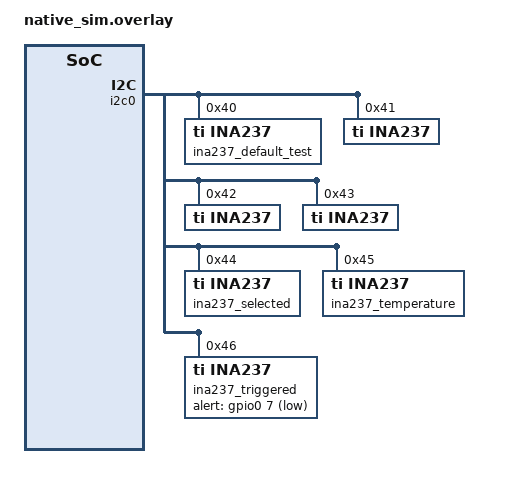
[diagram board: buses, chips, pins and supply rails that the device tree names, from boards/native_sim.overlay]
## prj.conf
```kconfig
# Copyright (c) 2023 North River Systems Ltd
# SPDX-License-Identifier: Apache-2.0

CONFIG_ZTEST=y
CONFIG_SENSOR=y
CONFIG_EMUL=y

CONFIG_I2C_LOG_LEVEL_DBG=y

CONFIG_CBPRINTF_FP_SUPPORT=y
CONFIG_GPIO=y
CONFIG_GPIO_EMUL=y
```

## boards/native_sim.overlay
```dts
/* Copyright (c) 2023 North River Systems Ltd
 * SPDX-License-Identifier: Apache-2.0
 */

#include <zephyr/dt-bindings/sensor/ina237.h>

&i2c0 {
	status = "okay";

	/* standard precision mode */
	ina237_default_test: ina237@40 {
		compatible = "ti,ina237";
		reg = <0x40>;
		rshunt-micro-ohms = <400>;
		current-lsb-microamps = <123>;
		status = "okay";
	};

	/* high precision mode */
	ina237@41 {
		compatible = "ti,ina237";
		reg = <0x41>;
		high-precision;
		rshunt-micro-ohms = <400>;
		current-lsb-microamps = <123>;
		status = "okay";
	};

	/* high precision mode, maximum current lsb */
	ina237@42 {
		compatible = "ti,ina237";
		reg = <0x42>;
		high-precision;
		rshunt-micro-ohms = <0x00ff>;
		current-lsb-microamps = <0xffff>;
		status = "okay";
	};

	/* high precision mode, maximum rshunt */
	ina237@43 {
		compatible = "ti,ina237";
		reg = <0x43>;
		high-precision;
		rshunt-micro-ohms = <0xffff>;
		current-lsb-microamps = <0x00ff>;
		status = "okay";
	};
};

&i2c0 {
	ina237_selected: ina237@44 {
		compatible = "ti,ina237";
		reg = <0x44>;
		rshunt-micro-ohms = <400>;
		current-lsb-microamps = <123>;
		fetch-channels = "bus-voltage", "shunt-voltage";
	};
	ina237_temperature: ina237@45 {
		compatible = "ti,ina237";
		reg = <0x45>;
		rshunt-micro-ohms = <400>;
		current-lsb-microamps = <123>;
		fetch-channels = "die-temperature";
	};
	ina237_triggered: ina237@46 {
		compatible = "ti,ina237";
		reg = <0x46>;
		rshunt-micro-ohms = <400>;
		current-lsb-microamps = <123>;
		fetch-channels = "bus-voltage", "shunt-voltage";
		adc-mode = "Bus and Shunt Voltage single shot";
		alert-gpios = <&gpio0 7 GPIO_ACTIVE_LOW>;
		alert-config = <0xc000>;
	};
};
```

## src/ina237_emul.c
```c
/*
 * Copyright (c) 2023 North River Systems Ltd
 *
 * SPDX-License-Identifier: Apache-2.0
 *
 * Emulator for the TI INA237 I2C power monitor
 */
#define DT_DRV_COMPAT ti_ina237

#include <zephyr/device.h>
#include <zephyr/drivers/emul.h>
#include <zephyr/drivers/i2c_emul.h>
#include <zephyr/drivers/i2c.h>
#include <zephyr/drivers/gpio/gpio_emul.h>
#include <zephyr/logging/log.h>
#include <zephyr/sys/byteorder.h>
#include <ina237.h>
#include <ina237_emul.h>

LOG_MODULE_REGISTER(INA237_EMUL, CONFIG_SENSOR_LOG_LEVEL);

#define INA237_EMUL_CONVERSION_READY BIT(1)

/* Register ID, size, and value table */
struct ina237_reg {
	uint8_t id;
	uint8_t bytes;
	uint32_t value;
};

/* Emulator configuration passed into driver instance */
struct ina237_emul_cfg {
	uint16_t addr;
	struct gpio_dt_spec alert;
};

struct ina237_emul_data {
	struct ina237_reg ina237_regs[INA237_REGISTER_COUNT];
	unsigned int reads[INA237_REGISTER_COUNT];
	int fail_reg;
	bool retained_alert;
};

static struct ina237_reg *get_register(struct ina237_emul_data *data, int reg)
{
	for (int i = 0; i < INA237_REGISTER_COUNT; i++) {
		if (data->ina237_regs[i].id == reg) {
			return &data->ina237_regs[i];
		}
	}
	return NULL;
}

int ina237_mock_set_register(void *data_ptr, int reg, uint32_t value)
{
	struct ina237_reg *reg_ptr = get_register(data_ptr, reg);

	if (reg_ptr == NULL) {
		return -EINVAL;
	}

	reg_ptr->value = value;
	return 0;
}

int ina237_mock_get_register(void *data_ptr, int reg, uint32_t *value_ptr)
{
	struct ina237_reg *reg_ptr = get_register(data_ptr, reg);

	if (reg_ptr == NULL || value_ptr == NULL) {
		return -EINVAL;
	}

	*value_ptr = reg_ptr->value;
	return 0;
}

/** @brief Reset transaction observations without changing emulated register values. */
void ina237_mock_reset_reads(void *data_ptr)
{
	struct ina237_emul_data *data = data_ptr;

	memset(data->reads, 0, sizeof(data->reads));
	data->fail_reg = -1;
}

/** @brief Return attempted reads of a register, including injected failures. */
int ina237_mock_read_count(void *data_ptr, int reg)
{
	struct ina237_emul_data *data = data_ptr;
	struct ina237_reg *entry = get_register(data, reg);

	return entry == NULL ? -EINVAL : data->reads[entry - data->ina237_regs];
}

/** @brief Fail reads of one register; a negative address disables the fault. */
void ina237_mock_fail_read(void *data_ptr, int reg)
{
	struct ina237_emul_data *data = data_ptr;

	data->fail_reg = reg;
}

static int ina237_emul_transfer_i2c(const struct emul *target, struct i2c_msg msgs[], int num_msgs,
				    int addr)
{
	struct ina237_emul_data *data = (struct ina237_emul_data *)target->data;

	/* The INA237 uses big-endian read 16, read 24, and write 16 transactions */
	if (!msgs || num_msgs < 1 || num_msgs > 2) {
		LOG_ERR("Invalid number of messages: %d", num_msgs);
		return -EIO;
	}

	if (msgs[0].flags & I2C_MSG_READ) {
		LOG_ERR("Expected write");
		return -EIO;
	}

	if (num_msgs == 1) {
		/* Write16 Transaction */
		if (msgs[0].len != 3) {
			LOG_ERR("Expected 3 bytes");
			return -EIO;
		}

		/* Write 2 bytes */
		uint8_t reg = msgs[0].buf[0];
		uint16_t val = sys_get_be16(&msgs[0].buf[1]);

		struct ina237_reg *reg_ptr = get_register(data, reg);

		if (!reg_ptr) {
			LOG_ERR("Invalid register: %02x", reg);
			return -EIO;
		}
		/* Configuration writes do not release a retained ALERT pin latch. */
		reg_ptr->value = val;
		if (reg == INA237_REG_ALERT && data->retained_alert) {
			reg_ptr->value |= INA237_EMUL_CONVERSION_READY;
		}
		LOG_DBG("Write reg %02x: %04x", reg, val);
	} else {
		/* Read 2 or 3 bytes */
		if ((msgs[1].flags & I2C_MSG_READ) == I2C_MSG_WRITE) {
			LOG_ERR("Expected read");
			return -EIO;
		}
		uint8_t reg = msgs[0].buf[0];

		struct ina237_reg *reg_ptr = get_register(data, reg);

		if (!reg_ptr) {
			LOG_ERR("Invalid register: %02x", reg);
			return -EIO;
		}

		data->reads[reg_ptr - data->ina237_regs]++;
		if (reg == data->fail_reg) {
			return -EIO;
		}

		if (msgs[1].len == 2) {
			sys_put_be16(reg_ptr->value, msgs[1].buf);
			LOG_DBG("Read16 reg %02x: %04x", reg, reg_ptr->value);
		} else if (msgs[1].len == 3) {
			sys_put_be24(reg_ptr->value, msgs[1].buf);
			LOG_DBG("Read24 reg %02x: %06x", reg, reg_ptr->value);
		} else {
			LOG_ERR("Invalid read length: %d", msgs[1].len);
			return -EIO;
		}
		if (reg == INA237_REG_ALERT && data->retained_alert) {
			const struct ina237_emul_cfg *cfg = target->cfg;

			data->retained_alert = false;
			reg_ptr->value &= ~INA237_EMUL_CONVERSION_READY;
			return gpio_emul_input_set(cfg->alert.port, cfg->alert.pin, 1);
		}
	}

	return 0;
}

static int ina237_emul_init(const struct emul *target, const struct device *parent)
{
	ARG_UNUSED(parent);
	const struct ina237_emul_cfg *cfg = target->cfg;
	struct ina237_emul_data *data = target->data;

	if (cfg->alert.port != NULL) {
		/* Start with ALERT already low, as after an MCU-only reset. */
		int ret = gpio_pin_configure_dt(&cfg->alert, GPIO_INPUT);

		if (ret != 0) {
			return ret;
		}
		data->retained_alert = true;
		return gpio_emul_input_set(cfg->alert.port, cfg->alert.pin, 0);
	}
	return 0;
}

static const struct i2c_emul_api ina237_emul_api_i2c = {
	.transfer = ina237_emul_transfer_i2c,
};

#define INA237_EMUL(n)									\
	static const struct ina237_emul_cfg ina237_emul_cfg_##n = {			\
		.alert = GPIO_DT_SPEC_INST_GET_OR(n, alert_gpios, {0}),		\
		.addr = DT_INST_REG_ADDR(n)						\
	};										\
	static struct ina237_emul_data ina237_emul_data_##n = {				\
		.fail_reg = -1, \
		.ina237_regs = {							\
			{INA237_REG_CONFIG, 2, 0},					\
			{INA237_REG_ADC_CONFIG, 2, 0xFB68},				\
			{INA237_REG_CALIB, 2, 0x1000},					\
			{INA237_REG_SHUNT_VOLT, 2, 0},					\
			{INA237_REG_BUS_VOLT, 2, 0},					\
			{INA237_REG_DIETEMP, 2, 0},					\
			{INA237_REG_CURRENT, 2, 0},					\
			{INA237_REG_POWER, 3, 0},					\
			{INA237_REG_ALERT, 2, 0x0001},					\
			{INA237_REG_SOVL, 2, 0x7FFF},					\
			{INA237_REG_SUVL, 2, 0x8000},					\
			{INA237_REG_BOVL, 2, 0x7FFF},					\
			{INA237_REG_BUVL, 2, 0},					\
			{INA237_REG_TEMP_LIMIT, 2, 0x7FFF},				\
			{INA237_REG_PWR_LIMIT, 2, 0xFFFF},				\
			{INA237_REG_MANUFACTURER_ID, 2, INA2XX_MANUFACTURER_ID},	\
		}};									\
	EMUL_DT_INST_DEFINE(n, ina237_emul_init, &ina237_emul_data_##n, &ina237_emul_cfg_##n, \
			    &ina237_emul_api_i2c, NULL)

DT_INST_FOREACH_STATUS_OKAY(INA237_EMUL)
```

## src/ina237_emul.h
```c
/*
 * Copyright (c) 2023 North River Systems Ltd
 *
 * SPDX-License-Identifier: Apache-2.0
 *
 * Emulator for the TI INA237 I2C power monitor
 */
#ifndef INA237_EMUL_H_
#define INA237_EMUL_H_

#define INA237_REGISTER_COUNT 16

int ina237_mock_set_register(void *data_ptr, int reg, uint32_t value);
int ina237_mock_get_register(void *data_ptr, int reg, uint32_t *value_ptr);

void ina237_mock_reset_reads(void *data_ptr);
int ina237_mock_read_count(void *data_ptr, int reg);
void ina237_mock_fail_read(void *data_ptr, int reg);

#endif /* INA237_EMUL_H_ */
```

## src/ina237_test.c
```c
/*
 * Copyright (c) 2023 North River Systems Ltd
 * SPDX-License-Identifier: Apache-2.0
 */

#include <zephyr/device.h>
#include <zephyr/devicetree.h>
#include <zephyr/drivers/emul.h>
#include <zephyr/drivers/gpio/gpio_emul.h>
#include <zephyr/drivers/i2c_emul.h>
#include <zephyr/drivers/sensor.h>
#include <zephyr/dt-bindings/sensor/ina237.h>
#include <zephyr/ztest.h>

#include <ina237_emul.h>
#include <ina237.h>

struct ina237_fixture {
	const struct device *dev;
	const struct emul *mock;
	const uint16_t current_lsb_uA;
	const uint16_t rshunt_uOhms;
	const uint16_t config;
};

/**
 * @brief Verify devicetree default configuration is correct.
 */
ZTEST(ina237_0, test_default_config)
{
	const struct ina2xx_config *config;
	const struct device *dev = DEVICE_DT_GET(DT_NODELABEL(ina237_default_test));

	zassert_not_null(dev);
	config = dev->config;
	zassert_not_null(config);

	/* confirm default DT settings */
	zexpect_equal(0xFB68, config->adc_config,
		"0xFB68 != adc_config (0x%x)", config->adc_config);
	zexpect_equal(0x0000, config->config);
}

/**
 * @brief Verify bus voltages for all ina237 nodes in DT
 *
 * @param fixture
 */

static void test_shunt_cal(struct ina237_fixture *fixture)
{
	/* Confirm SHUNT_CAL register which is 819.2e6 * Current_LSB * Rshunt */
	double shunt_cal = 819.2e6 * fixture->current_lsb_uA * 1e-6 * fixture->rshunt_uOhms * 1e-6;

	if (fixture->config & INA237_CFG_HIGH_PRECISION) {
		/* High precision mode */
		shunt_cal *= 4;
	}

	uint32_t shunt_register_actual;
	uint16_t shunt_register_expected = (uint16_t)shunt_cal;

	zassert_ok(ina237_mock_get_register(fixture->mock->data, INA237_REG_CALIB,
		&shunt_register_actual));
	zexpect_within(shunt_register_expected, shunt_register_actual, 1,
		"Expected %d, got %d", shunt_register_expected, shunt_register_actual);
}

static void test_current(struct ina237_fixture *fixture)
{
	/* 16-bit signed value for current register */
	const int16_t current_reg_vectors[] = {
		32767,
		1000,
		100,
		1,
		0,
		-1,
		-100,
		-1000,
		-32768,
	};

	for (int idx = 0; idx < ARRAY_SIZE(current_reg_vectors); idx++) {
		struct sensor_value sensor_val;
		int16_t current_register = current_reg_vectors[idx];
		double current_expected_A = fixture->current_lsb_uA * 1e-6 * current_register;

		/* set current reading */
		ina237_mock_set_register(fixture->mock->data, INA237_REG_CURRENT, current_register);

		/* Verify sensor value is correct */
		zassert_ok(sensor_sample_fetch(fixture->dev));
		zassert_ok(sensor_channel_get(fixture->dev, SENSOR_CHAN_CURRENT, &sensor_val));
		double current_actual_A = sensor_value_to_double(&sensor_val);

		zexpect_within(current_expected_A, current_actual_A, fixture->current_lsb_uA*1e-6,
			"Expected %.6f A, got %.6f A", current_expected_A, current_actual_A);
	}
}

static void test_bus_voltage(struct ina237_fixture *fixture)
{
	zassert_not_null(fixture->mock);

	/* 16-bit signed value for voltage register (but always positive) 3.125 mV/bit */
	const int16_t voltage_reg_vectors[] = {
		32767,
		27200,	/* 85V maximum voltage */
		1000,
		100,
		1,
		0,
	};

	for (int idx = 0; idx < ARRAY_SIZE(voltage_reg_vectors); idx++) {
		struct sensor_value sensor_val;

		ina237_mock_set_register(fixture->mock->data, INA237_REG_BUS_VOLT,
			voltage_reg_vectors[idx]);

		/* Verify sensor value is correct */
		zassert_ok(sensor_sample_fetch(fixture->dev));
		zassert_ok(sensor_channel_get(fixture->dev, SENSOR_CHAN_VOLTAGE, &sensor_val));

		double voltage_actual_V = sensor_value_to_double(&sensor_val);
		double voltage_expected_V = voltage_reg_vectors[idx] * 3.125e-3;

		zexpect_within(voltage_expected_V, voltage_actual_V, 1e-6,
			"Expected %.6f A, got %.6f A", voltage_expected_V, voltage_actual_V);
	}
}

static void test_power(struct ina237_fixture *fixture)
{
	/* 24-bit unsigned value for power register */
	const uint32_t power_reg_vectors[] = {
		16777215,
		65535,
		32767,
		1000,
		100,
		1,
		0,
	};

	for (int idx = 0; idx < ARRAY_SIZE(power_reg_vectors); idx++) {
		struct sensor_value sensor_val;
		uint32_t power_register = power_reg_vectors[idx];

		/* power is 0.2 * current_lsb * register */
		double power_expected_W = 0.2 * fixture->current_lsb_uA * 1e-6 * power_register;

		/* set current reading */
		ina237_mock_set_register(fixture->mock->data, INA237_REG_POWER, power_register);

		/* Verify sensor value is correct */
		zassert_ok(sensor_sample_fetch(fixture->dev));
		zassert_ok(sensor_channel_get(fixture->dev, SENSOR_CHAN_POWER, &sensor_val));
		double power_actual_W = sensor_value_to_double(&sensor_val);

		zexpect_within(power_expected_W, power_actual_W, 1e-6,
			"Expected %.6f C, got %.6f C", power_expected_W, power_actual_W);
	}
}

static void test_temperature(struct ina237_fixture *fixture)
{
	zassert_not_null(fixture->mock);

	/* 12-bit signed value with bottom 4-bits reserved - 125 mDegC / bit */
	const int16_t temp_reg_vectors[] = {
		16000,	/* 125C */
		1000,
		100,
		1,
		0,
		-100,
		-1000,
		-5120,	/* -40C */
	};

	for (int idx = 0; idx < ARRAY_SIZE(temp_reg_vectors); idx++) {
		struct sensor_value sensor_val;

		ina237_mock_set_register(fixture->mock->data, INA237_REG_DIETEMP,
		temp_reg_vectors[idx]);

		/* Verify sensor value is correct */
		zassert_ok(sensor_sample_fetch(fixture->dev));
		zassert_ok(sensor_channel_get(fixture->dev, SENSOR_CHAN_DIE_TEMP, &sensor_val));

		double temp_actual_degC = sensor_value_to_double(&sensor_val);
		double temp_expected_degC = (temp_reg_vectors[idx] / 16) * 125e-3;

		zexpect_within(temp_expected_degC, temp_actual_degC, 125e-3,
			"Expected %.6f A, got %.6f A", temp_expected_degC, temp_actual_degC);
	}
}

static void test_vshunt(struct ina237_fixture *fixture)
{
	zassert_not_null(fixture->mock);

	/* 16-bit signed value for voltage register (but always positive) 3.125 mV/bit */
	const int16_t vshunt_reg_vectors[] = {
		32767,	/* maximum shunt voltage of 163.84 mV or 40.96 mV */
		27200,
		1000,
		100,
		1,
		0,
		-1,
		-100,
		-1000,
		-32768,	/* minimum shunt voltage of -163.84 mV or -40.96 mV */
	};

	for (int idx = 0; idx < ARRAY_SIZE(vshunt_reg_vectors); idx++) {
		struct sensor_value sensor_val;

		ina237_mock_set_register(fixture->mock->data, INA237_REG_SHUNT_VOLT,
			vshunt_reg_vectors[idx]);

		/* Verify sensor value is correct */
		zassert_ok(sensor_sample_fetch_chan(fixture->dev, SENSOR_CHAN_VSHUNT));
		zassert_ok(sensor_channel_get(fixture->dev, SENSOR_CHAN_VSHUNT, &sensor_val));

		double vshunt_actual_mV = sensor_value_to_double(&sensor_val);
		double vshunt_expected_mV = vshunt_reg_vectors[idx];

		if (fixture->config & INA237_CFG_HIGH_PRECISION) {
			/* High precision mode - 1.25 uV/bit = 1250 nV/bit*/
			vshunt_expected_mV *= 1000 * 1.250e-6;
		} else {
			/* Standard precision mode - 5 uV/bit = 5000 nV/bit */
			vshunt_expected_mV *= 1000 * 5e-6;
		}

		zexpect_within(vshunt_expected_mV, vshunt_actual_mV, 1e-9,
			"For %d, Expected %.6f mV, got %.6f mV", vshunt_reg_vectors[idx],
			vshunt_expected_mV, vshunt_actual_mV);
	}
}

/* Create a test fixture for each enabled ina237 device node */
#define DT_DRV_COMPAT ti_ina237
#define INA237_FIXTURE_ENTRY(inst) \
	{ \
		.dev = DEVICE_DT_INST_GET(inst), \
		.mock = EMUL_DT_GET(DT_DRV_INST(inst)), \
		.current_lsb_uA = DT_INST_PROP(inst, current_lsb_microamps), \
		.rshunt_uOhms = DT_INST_PROP(inst, rshunt_micro_ohms), \
		.config = INA237_DT_CONFIG(inst), \
	},

static struct ina237_fixture fixtures[] = {
	DT_INST_FOREACH_STATUS_OKAY(INA237_FIXTURE_ENTRY)
};

/* Create a test suite for each enabled ina237 device node */
#define INA237_TESTS(inst) \
	ZTEST(ina237_##inst, test_shunt_cal) { test_shunt_cal(&fixtures[inst]); } \
	ZTEST(ina237_##inst, test_current) { test_current(&fixtures[inst]); } \
	ZTEST(ina237_##inst, test_bus_voltage) { test_bus_voltage(&fixtures[inst]); } \
	ZTEST(ina237_##inst, test_power) { test_power(&fixtures[inst]); } \
	ZTEST(ina237_##inst, test_temperature) { test_temperature(&fixtures[inst]); } \
	ZTEST(ina237_##inst, test_vshunt) { test_vshunt(&fixtures[inst]); } \
	ZTEST_SUITE(ina237_##inst, NULL, NULL, NULL, NULL, NULL);

/* The additional selection/trigger nodes have dedicated fetch tests. */
#define INA237_DEFAULT_TESTS(inst) \
	COND_CODE_1(DT_INST_NODE_HAS_PROP(inst, fetch_channels), (), (INA237_TESTS(inst)))
DT_INST_FOREACH_STATUS_OKAY(INA237_DEFAULT_TESTS)

static const struct device *const selected = DEVICE_DT_GET(DT_NODELABEL(ina237_selected));
static const struct emul *const selected_emul = EMUL_DT_GET(DT_NODELABEL(ina237_selected));
static const uint8_t data_registers[] = {
	INA237_REG_BUS_VOLT, INA237_REG_SHUNT_VOLT, INA237_REG_CURRENT,
	INA237_REG_POWER,    INA237_REG_DIETEMP,
};
static const struct gpio_dt_spec alert =
	GPIO_DT_SPEC_GET(DT_NODELABEL(ina237_triggered), alert_gpios);
static K_SEM_DEFINE(completed, 0, 1);
static const struct sensor_trigger ready = {
	.type = SENSOR_TRIG_DATA_READY,
	.chan = SENSOR_CHAN_ALL,
};

/** @brief Wake the test only after the driver's triggered register reads finish. */
static void conversion_ready(const struct device *dev, const struct sensor_trigger *trigger)
{
	ARG_UNUSED(dev);
	ARG_UNUSED(trigger);
	k_sem_give(&completed);
}

/** @brief Assert the exact set of register reads, including absence of unused reads. */
static void check_reads(const struct emul *emul, uint8_t first, uint8_t second)
{
	for (size_t i = 0; i < ARRAY_SIZE(data_registers); i++) {
		uint8_t reg = data_registers[i];
		zassert_equal(ina237_mock_read_count(emul->data, reg),
			      reg == first || reg == second, "Unexpected reads of register %x",
			      reg);
	}
}

/** @brief An omitted selection preserves all five INA237 register reads. */
ZTEST(ina237_fetch, test_default_all)
{
	const struct device *dev = DEVICE_DT_GET(DT_NODELABEL(ina237_default_test));
	const struct emul *emul = EMUL_DT_GET(DT_NODELABEL(ina237_default_test));

	ina237_mock_reset_reads(emul->data);
	zassert_ok(sensor_sample_fetch(dev));
	for (size_t i = 0; i < ARRAY_SIZE(data_registers); i++) {
		zassert_equal(ina237_mock_read_count(emul->data, data_registers[i]), 1);
	}
}

/** @brief A selected pair fetches only those registers and leaves ADC configuration alone. */
ZTEST(ina237_fetch, test_bus_shunt_selection)
{
	uint32_t adc_before, adc_after;

	ina237_mock_reset_reads(selected_emul->data);
	zassert_ok(
		ina237_mock_get_register(selected_emul->data, INA237_REG_ADC_CONFIG, &adc_before));
	zassert_ok(sensor_sample_fetch(selected));
	check_reads(selected_emul, INA237_REG_BUS_VOLT, INA237_REG_SHUNT_VOLT);
	zassert_ok(
		ina237_mock_get_register(selected_emul->data, INA237_REG_ADC_CONFIG, &adc_after));
	zassert_equal(adc_before, adc_after);
}

/** @brief Different devices can independently select a different channel subset. */
ZTEST(ina237_fetch, test_per_device_selection)
{
	const struct device *dev = DEVICE_DT_GET(DT_NODELABEL(ina237_temperature));
	const struct emul *emul = EMUL_DT_GET(DT_NODELABEL(ina237_temperature));

	ina237_mock_reset_reads(emul->data);
	ina237_mock_reset_reads(selected_emul->data);
	zassert_ok(sensor_sample_fetch(dev));
	check_reads(emul, INA237_REG_DIETEMP, INA237_REG_DIETEMP);
	zassert_ok(sensor_sample_fetch(selected));
	check_reads(selected_emul, INA237_REG_BUS_VOLT, INA237_REG_SHUNT_VOLT);
}

/** @brief An explicit fetch of an unlisted channel remains supported. */
ZTEST(ina237_fetch, test_explicit_channel)
{
	ina237_mock_reset_reads(selected_emul->data);
	zassert_ok(sensor_sample_fetch_chan(selected, SENSOR_CHAN_CURRENT));
	check_reads(selected_emul, INA237_REG_CURRENT, INA237_REG_CURRENT);
}

/** @brief A selected-register failure is returned and stops later reads. */
ZTEST(ina237_fetch, test_selected_error)
{
	ina237_mock_reset_reads(selected_emul->data);
	ina237_mock_fail_read(selected_emul->data, INA237_REG_BUS_VOLT);
	zassert_equal(sensor_sample_fetch(selected), -EIO);
	check_reads(selected_emul, INA237_REG_BUS_VOLT, INA237_REG_BUS_VOLT);
	ina237_mock_reset_reads(selected_emul->data);
}

/** @brief An unselected-register failure cannot fail the selected fetch. */
ZTEST(ina237_fetch, test_unselected_error)
{
	ina237_mock_reset_reads(selected_emul->data);
	ina237_mock_fail_read(selected_emul->data, INA237_REG_CURRENT);
	zassert_ok(sensor_sample_fetch(selected));
	check_reads(selected_emul, INA237_REG_BUS_VOLT, INA237_REG_SHUNT_VOLT);
	ina237_mock_reset_reads(selected_emul->data);
}

/** @brief Trigger completion honors the same selection as continuous-mode fetching. */
ZTEST(ina237_fetch, test_triggered_selection)
{
	const struct device *dev = DEVICE_DT_GET(DT_NODELABEL(ina237_triggered));
	const struct emul *emul = EMUL_DT_GET(DT_NODELABEL(ina237_triggered));

	zassert_true(device_is_ready(dev));
	zassert_ok(gpio_emul_input_set(alert.port, alert.pin, 1));
	zassert_ok(sensor_trigger_set(dev, &ready, conversion_ready));
	ina237_mock_reset_reads(emul->data);
	zassert_ok(sensor_sample_fetch(dev));
	zassert_ok(ina237_mock_set_register(emul->data, INA237_REG_ALERT, BIT(1) | BIT(0)));
	zassert_ok(gpio_emul_input_set(alert.port, alert.pin, 0));
	zassert_ok(k_sem_take(&completed, K_SECONDS(1)));
	check_reads(emul, INA237_REG_BUS_VOLT, INA237_REG_SHUNT_VOLT);
	zassert_equal(ina237_mock_read_count(emul->data, INA237_REG_ALERT), 1);
	zassert_ok(sensor_trigger_set(dev, &ready, NULL));
}
/** @brief Registration must service an alert asserted before falling-edge IRQ delivery. */
ZTEST(ina237_fetch, test_subscribe_with_alert_already_active)
{
	const struct device *dev = DEVICE_DT_GET(DT_NODELABEL(ina237_triggered));
	const struct emul *emul = EMUL_DT_GET(DT_NODELABEL(ina237_triggered));

	zassert_ok(sensor_trigger_set(dev, &ready, NULL));
	zassert_ok(gpio_pin_interrupt_configure_dt(&alert, GPIO_INT_DISABLE));
	zassert_ok(gpio_emul_input_set(alert.port, alert.pin, 1));
	zassert_ok(sensor_sample_fetch(dev));
	zassert_ok(ina237_mock_set_register(emul->data, INA237_REG_ALERT, BIT(1) | BIT(0)));
	zassert_ok(gpio_emul_input_set(alert.port, alert.pin, 0));
	zassert_ok(gpio_pin_interrupt_configure_dt(&alert, GPIO_INT_EDGE_FALLING));
	ina237_mock_reset_reads(emul->data);
	k_sem_reset(&completed);
	zassert_ok(sensor_trigger_set(dev, &ready, conversion_ready));
	zassert_ok(k_sem_take(&completed, K_SECONDS(1)));
	zassert_equal(ina237_mock_read_count(emul->data, INA237_REG_ALERT), 1);
	check_reads(emul, INA237_REG_BUS_VOLT, INA237_REG_SHUNT_VOLT);
	zassert_ok(sensor_trigger_set(dev, &ready, NULL));
	zassert_ok(gpio_emul_input_set(alert.port, alert.pin, 1));
}

static int startup_alert_level;
static int startup_alert_reads;

/** @brief Save initialization observations before fetch tests modify the emulator. */
static void *fetch_setup(void)
{
	const struct emul *emul = EMUL_DT_GET(DT_NODELABEL(ina237_triggered));

	startup_alert_level = gpio_pin_get_raw(alert.port, alert.pin);
	startup_alert_reads = ina237_mock_read_count(emul->data, INA237_REG_ALERT);
	return NULL;
}

/** @brief A retained low ALERT must be released before the first application fetch. */
ZTEST(ina237_fetch, test_retained_alert_at_startup)
{
	zassert_true(device_is_ready(DEVICE_DT_GET(DT_NODELABEL(ina237_triggered))));
	zassert_equal(startup_alert_level, 1, "Initialization left ALERT latched low");
	zassert_equal(startup_alert_reads, 1, "Expected one startup latch-clearing read");
}
ZTEST_SUITE(ina237_fetch, NULL, fetch_setup, NULL, NULL, NULL);
```
